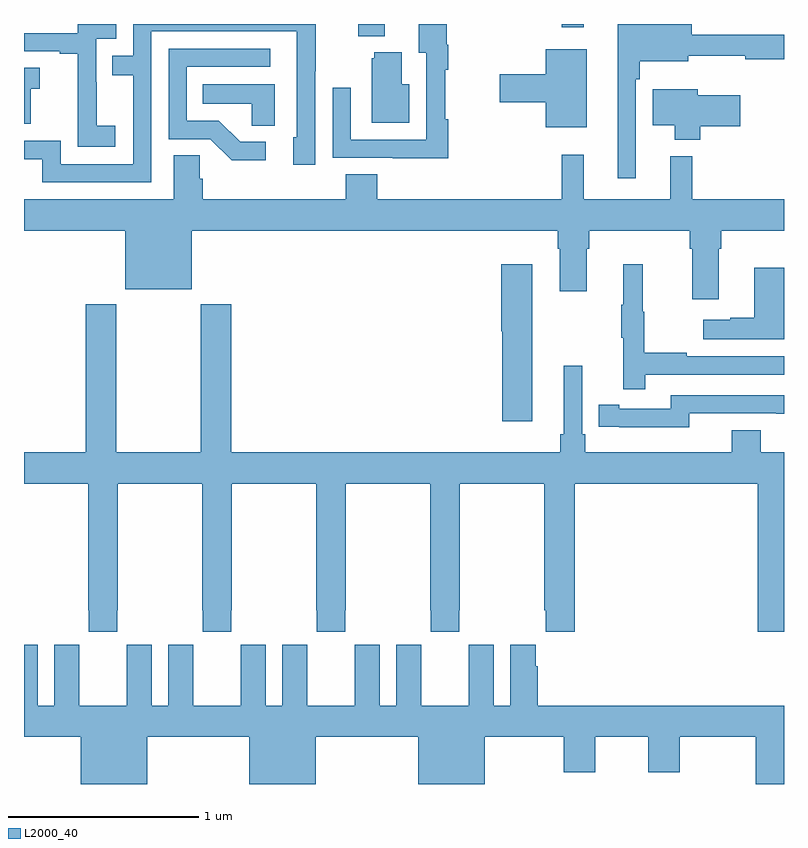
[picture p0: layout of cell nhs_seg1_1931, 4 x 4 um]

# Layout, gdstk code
import gdstk
lib = gdstk.Library(unit=1e-6, precision=1e-09)
def R(c, l, rs):  # rectangles x0, y0, x1, y1
    for r in rs: c.add(gdstk.rectangle(r[:2], r[2:], *l))
def P(c, l, *ps):  # polygons
    for p in ps: c.add(gdstk.Polygon(p, *l))
L2000_40 = (2000, 40)

nhs_seg1_1931 = lib.new_cell('nhs_seg1_1931')
R(nhs_seg1_1931, L2000_40, [(218.759,506.135,218.899,506.199), (219.829,506.181,219.946,506.199)])
P(nhs_seg1_1931, L2000_40, [(219.233,505.697),(219.218,505.697),(219.218,505.958),(219.233,505.958),(219.233,506.09),(219.226,506.09),(219.226,506.199),(219.077,506.199),(219.077,506.047),(219.117,506.047),(219.117,505.59),(218.721,505.59),(218.721,505.864),(218.625,505.864),(218.625,505.494),(218.941,505.494),(218.941,505.493),(219.233,505.493)],
  [(217.48,505.663),(217.382,505.663),(217.382,505.892),(217.38,505.892),(217.38,506.121),(217.485,506.121),(217.485,506.199),(217.284,506.199),(217.284,506.151),(217,506.151),(217,506.055),(217.187,506.055),(217.187,506.043),(217.283,506.043),(217.283,505.759),(217.282,505.759),(217.282,505.553),(217.48,505.553)],
  [(220.221,505.907),(220.241,505.907),(220.241,506.003),(220.495,506.003),(220.495,506.033),(220.796,506.033),(220.796,506.014),(221,506.014),(221,506.143),(220.514,506.143),(220.514,506.199),(220.124,506.199),(220.124,505.386),(220.221,505.386)],
  [(217.671,506.16),(218.436,506.16),(218.436,505.602),(218.417,505.602),(218.417,505.458),(218.532,505.458),(218.532,505.951),(218.535,505.951),(218.535,506.199),(217.575,506.199),(217.575,506.031),(217.465,506.031),(217.465,505.93),(217.575,505.93),(217.575,505.461),(217.194,505.461),(217.194,505.584),(217,505.584),(217,505.488),(217.097,505.488),(217.097,505.365),(217.671,505.365)],
  [(218.272,505.578),(218.137,505.578),(218.026,505.689),(217.857,505.689),(217.857,505.974),(218.296,505.974),(218.296,506.07),(217.761,506.07),(217.761,505.593),(217.98,505.593),(218.093,505.481),(218.272,505.481)],
  [(219.961,506.065),(219.746,506.065),(219.746,505.934),(219.504,505.934),(219.504,505.787),(219.746,505.787),(219.746,505.655),(219.961,505.655)],
  [(219.028,505.882),(218.989,505.882),(218.989,506.05),(218.843,506.05),(218.843,506.019),(218.831,506.019),(218.831,505.679),(219.028,505.679)],
  [(217.035,505.859),(217.084,505.859),(217.084,505.969),(217,505.969),(217,505.674),(217.035,505.674)],
  [(218.32,505.882),(217.942,505.882),(217.942,505.778),(218.199,505.778),(218.199,505.663),(218.32,505.663)],
  [(220.559,505.66),(220.771,505.66),(220.771,505.825),(220.546,505.825),(220.546,505.855),(220.31,505.855),(220.31,505.667),(220.424,505.667),(220.424,505.589),(220.559,505.589)],
  [(220.657,505.016),(220.67,505.016),(220.67,505.112),(221,505.112),(221,505.276),(220.517,505.276),(220.517,505.504),(220.4,505.504),(220.4,505.276),(219.947,505.276),(219.947,505.51),(219.829,505.51),(219.829,505.276),(218.858,505.276),(218.858,505.409),(218.693,505.409),(218.693,505.276),(217.94,505.276),(217.94,505.385),(217.926,505.385),(217.926,505.508),(217.787,505.508),(217.787,505.276),(217,505.276),(217,505.112),(217.532,505.112),(217.532,504.803),(217.882,504.803),(217.882,505.112),(219.809,505.112),(219.809,505.016),(219.821,505.016),(219.821,504.792),(219.961,504.792),(219.961,505.016),(219.974,505.016),(219.974,505.112),(220.505,505.112),(220.505,505.016),(220.517,505.016),(220.517,504.75),(220.657,504.75)],
  [(220.271,504.354),(221,504.354),(221,504.45),(220.487,504.45),(220.487,504.47),(220.264,504.47),(220.264,504.684),(220.256,504.684),(220.256,504.934),(220.154,504.934),(220.154,504.721),(220.143,504.721),(220.143,504.547),(220.154,504.547),(220.154,504.276),(220.271,504.276)],
  [(219.676,504.934),(219.512,504.934),(219.512,504.582),(219.518,504.582),(219.518,504.108),(219.676,504.108)],
  [(221,504.916),(220.844,504.916),(220.844,504.653),(220.718,504.653),(220.718,504.643),(220.575,504.643),(220.575,504.539),(221,504.539)],
  [(217.491,503.113),(217.494,503.113),(217.494,503.78),(217.939,503.78),(217.939,503.113),(217.941,503.113),(217.941,503.001),(218.091,503.001),(218.091,503.113),(218.094,503.113),(218.094,503.78),(218.539,503.78),(218.539,503.113),(218.541,503.113),(218.541,503.001),(218.691,503.001),(218.691,503.113),(218.694,503.113),(218.694,503.78),(219.139,503.78),(219.139,503.113),(219.141,503.113),(219.141,503.001),(219.291,503.001),(219.291,503.113),(219.294,503.113),(219.294,503.78),(219.739,503.78),(219.739,503.113),(219.745,503.113),(219.745,503.001),(219.899,503.001),(219.899,503.78),(220.862,503.78),(220.862,503.001),(221,503.001),(221,503.944),(220.877,503.944),(220.877,504.061),(220.724,504.061),(220.724,503.944),(219.953,503.944),(219.953,504.04),(219.939,504.04),(219.939,504.4),(219.842,504.4),(219.842,504.04),(219.823,504.04),(219.823,503.944),(218.09,503.944),(218.09,504.724),(217.93,504.724),(217.93,503.944),(217.485,503.944),(217.485,504.724),(217.325,504.724),(217.325,503.944),(217,503.944),(217,503.78),(217.339,503.78),(217.339,503.113),(217.341,503.113),(217.341,503.001),(217.491,503.001)],
  [(220.5,504.15),(220.96,504.15),(220.96,504.149),(221,504.149),(221,504.246),(220.404,504.246),(220.404,504.174),(220.132,504.174),(220.132,504.194),(220.024,504.194),(220.024,504.078),(220.132,504.078),(220.132,504.077),(220.5,504.077)],
  [(217.648,502.448),(218.186,502.448),(218.186,502.199),(218.536,502.199),(218.536,502.448),(219.074,502.448),(219.074,502.199),(219.424,502.199),(219.424,502.448),(219.842,502.448),(219.842,502.26),(220.006,502.26),(220.006,502.448),(220.286,502.448),(220.286,502.26),(220.45,502.26),(220.45,502.448),(220.85,502.448),(220.85,502.199),(221,502.199),(221,502.612),(219.704,502.612),(219.704,502.82),(219.694,502.82),(219.694,502.933),(219.56,502.933),(219.56,502.612),(219.472,502.612),(219.472,502.933),(219.342,502.933),(219.342,502.82),(219.341,502.82),(219.341,502.612),(219.091,502.612),(219.091,502.82),(219.09,502.82),(219.09,502.933),(218.96,502.933),(218.96,502.612),(218.872,502.612),(218.872,502.933),(218.742,502.933),(218.742,502.82),(218.741,502.82),(218.741,502.612),(218.491,502.612),(218.491,502.82),(218.49,502.82),(218.49,502.933),(218.36,502.933),(218.36,502.612),(218.272,502.612),(218.272,502.933),(218.142,502.933),(218.142,502.82),(218.141,502.82),(218.141,502.612),(217.891,502.612),(217.891,502.82),(217.89,502.82),(217.89,502.933),(217.76,502.933),(217.76,502.612),(217.672,502.612),(217.672,502.933),(217.542,502.933),(217.542,502.82),(217.541,502.82),(217.541,502.612),(217.291,502.612),(217.291,502.82),(217.29,502.82),(217.29,502.933),(217.16,502.933),(217.16,502.612),(217.072,502.612),(217.072,502.933),(217,502.933),(217,502.448),(217.298,502.448),(217.298,502.199),(217.648,502.199)])

lib.write_gds('nhs_seg1_1931.gds')
